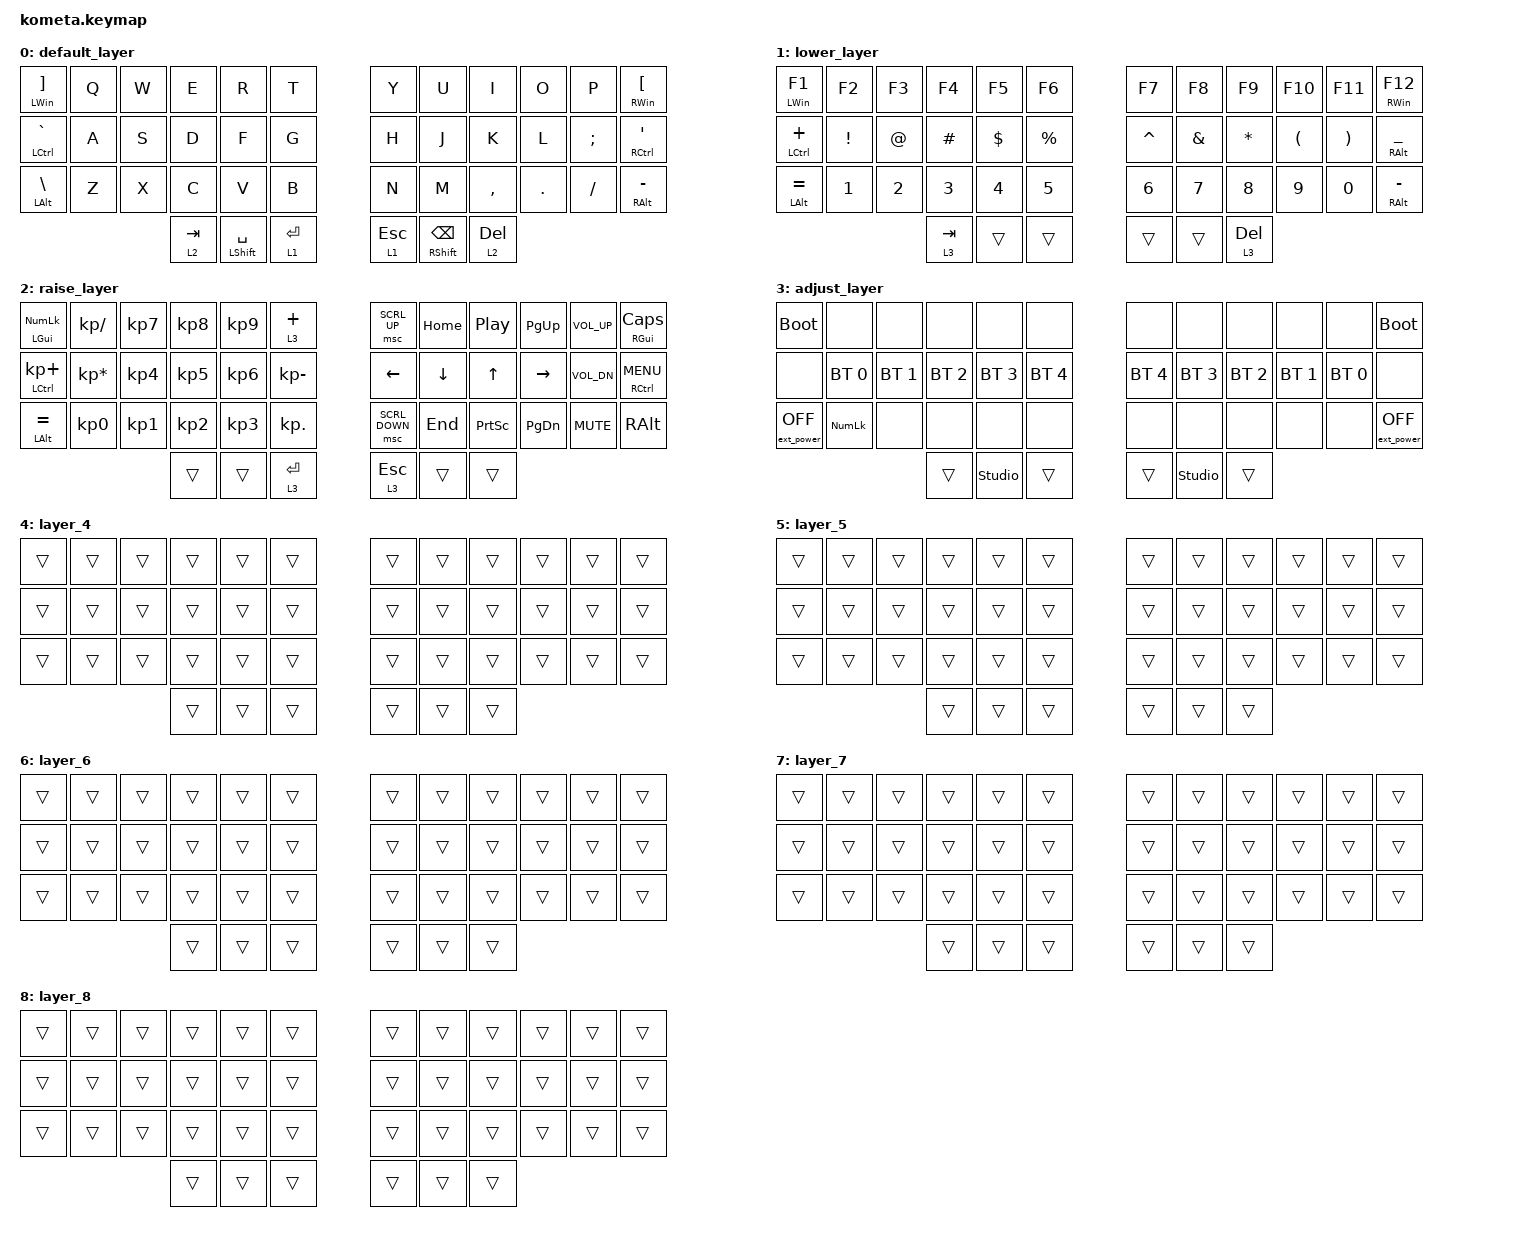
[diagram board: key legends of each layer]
/*
 * Copyright (c) 2020 The ZMK Contributors
 *
 * SPDX-License-Identifier: MIT
 */

#include <behaviors.dtsi>
#include <dt-bindings/zmk/bt.h>
#include <dt-bindings/zmk/ext_power.h>
#include <dt-bindings/zmk/keys.h>
#include <dt-bindings/zmk/pointing.h>

#define DEF 0
#define LWR 1
#define RSE 2
#define ADJ 3

&lt { quick_tap_ms = <220>; };

&mt { quick_tap_ms = <220>; };

/ {
    macros {
        numdot: numdot {
            label = "ZM_numdot";
            compatible = "zmk,behavior-macro";
            #binding-cells = <0>;
            wait-ms = <40>;
            tap-ms = <40>;
            bindings =
                <&macro_press>,
                <&kp LALT>,
                <&macro_tap>,
                <&kp KP_N4 &kp KP_N6>,
                <&macro_release>,
                <&kp LALT>;
        };

        grtsgn: grtsgn {
            label = "ZM_grtsgn";
            compatible = "zmk,behavior-macro";
            #binding-cells = <0>;
            wait-ms = <40>;
            tap-ms = <40>;
            bindings =
                <&macro_press>,
                <&kp LALT>,
                <&macro_tap>,
                <&kp KP_N6 &kp KP_N2>,
                <&macro_release>,
                <&kp LALT>;
        };
    };
};

/ {
    combos {
        compatible = "zmk,combos";

        bt_clear_profile_l {
            bindings = <&bt BT_CLR>;
            key-positions = <3 2>;
            layers = <3>;
        };

        bt_clear_profile_r {
            bindings = <&bt BT_CLR>;
            key-positions = <8 9>;
            layers = <3>;
        };
    };

    keymap {
        compatible = "zmk,keymap";

        default_layer {
            bindings = <
&mt LWIN RBKT    &kp Q  &kp W  &kp E      &kp R            &kp T      &kp Y      &kp U           &kp I      &kp O    &kp P     &mt RWIN LBKT
&mt LCTRL GRAVE  &kp A  &kp S  &kp D      &kp F            &kp G      &kp H      &kp J           &kp K      &kp L    &kp SEMI  &mt RCTRL SQT
&mt LALT BSLH    &kp Z  &kp X  &kp C      &kp V            &kp B      &kp N      &kp M           &kp COMMA  &kp DOT  &kp FSLH  &mt RALT MINUS
                               &lt 2 TAB  &mt LSHFT SPACE  &lt 1 RET  &lt 1 ESC  &mt RSHFT BSPC  &lt 2 DEL
            >;
        };

        lower_layer {
            bindings = <
&mt LWIN F1     &kp F2    &kp F3  &kp F4     &kp F5      &kp F6       &kp F7     &kp F8    &kp F9     &kp F10   &kp F11   &mt RWIN F12
&mt LCTRL PLUS  &kp EXCL  &kp AT  &kp HASH   &kp DOLLAR  &kp PERCENT  &kp CARET  &kp AMPS  &kp STAR   &kp LPAR  &kp RPAR  &mt RALT UNDER
&mt LALT EQUAL  &kp N1    &kp N2  &kp N3     &kp N4      &kp N5       &kp N6     &kp N7    &kp N8     &kp N9    &kp N0    &mt RALT MINUS
                                  &lt 3 TAB  &trans      &trans       &trans     &trans    &lt 3 DEL
            >;
        };

        raise_layer {
            bindings = <
&mt LEFT_GUI KP_NUMLOCK  &kp KP_SLASH     &kp KP_N7  &kp KP_N8  &kp KP_N9  &lt 3 PLUS    &msc SCRL_UP    &kp HOME  &kp C_PP   &kp PG_UP  &kp C_VOL_UP  &mt RIGHT_GUI CAPS
&mt LCTRL KP_PLUS        &kp KP_MULTIPLY  &kp KP_N4  &kp KP_N5  &kp KP_N6  &kp KP_MINUS  &kp LEFT        &kp DOWN  &kp UP     &kp RIGHT  &kp C_VOL_DN  &mt RCTRL K_MENU
&mt LALT EQUAL           &kp KP_NUMBER_0  &kp KP_N1  &kp KP_N2  &kp KP_N3  &kp KP_DOT    &msc SCRL_DOWN  &kp END   &kp PSCRN  &kp PG_DN  &kp C_MUTE    &kp RALT
                                                     &trans     &trans     &lt 3 RET     &lt 3 ESC       &trans    &trans
            >;
        };

        adjust_layer {
            bindings = <
&bootloader        &none         &none         &none         &none           &none         &none         &none           &none         &none         &none         &bootloader
&none              &bt BT_SEL 0  &bt BT_SEL 1  &bt BT_SEL 2  &bt BT_SEL 3    &bt BT_SEL 4  &bt BT_SEL 4  &bt BT_SEL 3    &bt BT_SEL 2  &bt BT_SEL 1  &bt BT_SEL 0  &none
&ext_power EP_OFF  &kp KP_NUM    &none         &none         &none           &none         &none         &none           &none         &none         &none         &ext_power EP_OFF
                                               &trans        &studio_unlock  &trans        &trans        &studio_unlock  &trans
            >;
        };

        layer_4 {
            bindings = <
&trans  &trans  &trans  &trans  &trans  &trans  &trans  &trans  &trans  &trans  &trans  &trans
&trans  &trans  &trans  &trans  &trans  &trans  &trans  &trans  &trans  &trans  &trans  &trans
&trans  &trans  &trans  &trans  &trans  &trans  &trans  &trans  &trans  &trans  &trans  &trans
                        &trans  &trans  &trans  &trans  &trans  &trans
            >;
        };

        layer_5 {
            bindings = <
&trans  &trans  &trans  &trans  &trans  &trans  &trans  &trans  &trans  &trans  &trans  &trans
&trans  &trans  &trans  &trans  &trans  &trans  &trans  &trans  &trans  &trans  &trans  &trans
&trans  &trans  &trans  &trans  &trans  &trans  &trans  &trans  &trans  &trans  &trans  &trans
                        &trans  &trans  &trans  &trans  &trans  &trans
            >;
        };

        layer_6 {
            bindings = <
&trans  &trans  &trans  &trans  &trans  &trans  &trans  &trans  &trans  &trans  &trans  &trans
&trans  &trans  &trans  &trans  &trans  &trans  &trans  &trans  &trans  &trans  &trans  &trans
&trans  &trans  &trans  &trans  &trans  &trans  &trans  &trans  &trans  &trans  &trans  &trans
                        &trans  &trans  &trans  &trans  &trans  &trans
            >;
        };

        layer_7 {
            bindings = <
&trans  &trans  &trans  &trans  &trans  &trans  &trans  &trans  &trans  &trans  &trans  &trans
&trans  &trans  &trans  &trans  &trans  &trans  &trans  &trans  &trans  &trans  &trans  &trans
&trans  &trans  &trans  &trans  &trans  &trans  &trans  &trans  &trans  &trans  &trans  &trans
                        &trans  &trans  &trans  &trans  &trans  &trans
            >;
        };

        layer_8 {
            bindings = <
&trans  &trans  &trans  &trans  &trans  &trans  &trans  &trans  &trans  &trans  &trans  &trans
&trans  &trans  &trans  &trans  &trans  &trans  &trans  &trans  &trans  &trans  &trans  &trans
&trans  &trans  &trans  &trans  &trans  &trans  &trans  &trans  &trans  &trans  &trans  &trans
                        &trans  &trans  &trans  &trans  &trans  &trans
            >;
        };
    };
};

